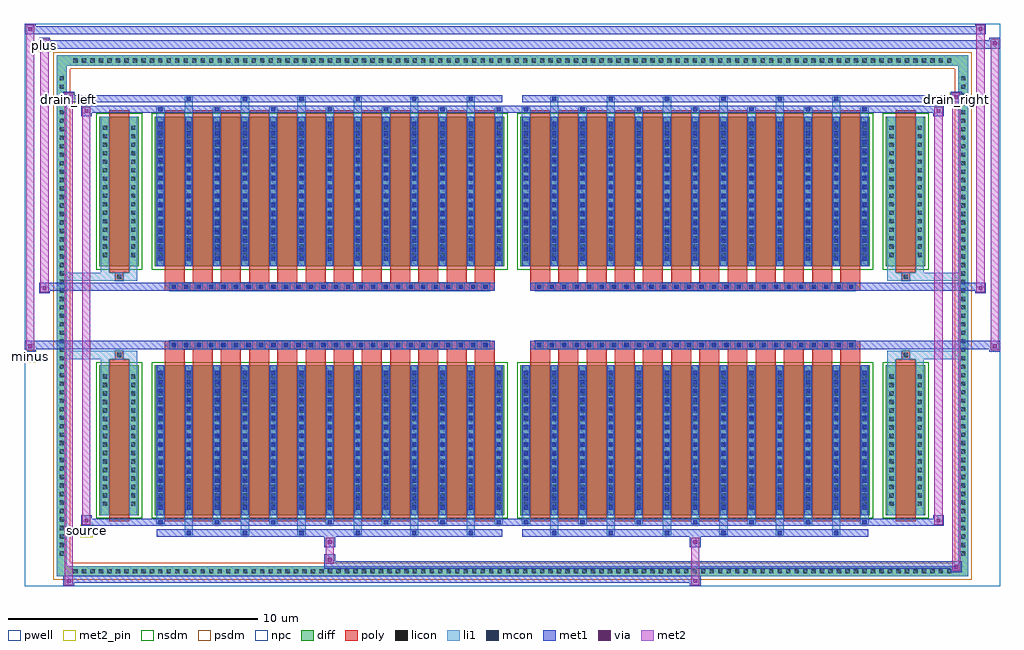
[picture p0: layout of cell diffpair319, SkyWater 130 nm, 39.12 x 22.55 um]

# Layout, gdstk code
import gdstk
lib = gdstk.Library(unit=1e-6, precision=5e-09)
def R(c, l, rs):  # rectangles x0, y0, x1, y1
    for r in rs: c.add(gdstk.rectangle(r[:2], r[2:], *l))
def A(c, l, x, y, w, h, nx, ny, dx, dy):  # array of equal rectangles
    R(c, l, [(x+i*dx, y+j*dy, x+i*dx+w, y+j*dy+h) for i in range(nx) for j in range(ny)])
def P(c, l, *ps):  # polygons
    for p in ps: c.add(gdstk.Polygon(p, *l))
pwell = (64, 44)
diff = (65, 20)
poly = (66, 20)
licon = (66, 44)
li1 = (67, 20)
mcon = (67, 44)
met1 = (68, 20)
via = (68, 44)
met2_pin = (69, 16)
met2 = (69, 20)
nsdm = (93, 44)
psdm = (94, 20)
npc = (95, 20)

diffpair319 = lib.new_cell('diffpair319')
R(diffpair319, pwell, [(-19.54,-10.84,19.54,11.71), (-16.86,-9.03,-0.01,-0.805), (0.01,-9.03,16.86,-0.805), (-16.86,0.805,-0.01,9.03), (0.01,0.805,16.86,9.03)])
A(diffpair319, diff, -17.715, -10.44, 0.41, 0.41, 104, 2, 0.34, 20.47)
A(diffpair319, diff, -18.27, -9.725, 0.41, 0.41, 1, 57, 0, 0.34)
A(diffpair319, diff, 17.86, -9.725, 0.41, 0.41, 1, 57, 0, 0.34)
R(diffpair319, diff, [(-17.715,-10.44,17.715,-10.03), (-18.27,-9.725,-17.86,9.725), (17.86,-9.725,18.27,9.725), (-16.55,-7.985,-14.97,-1.985), (-14.33,-7.985,-0.32,-1.985), (0.32,-7.985,14.33,-1.985), (14.97,-7.985,16.55,-1.985), (-16.55,1.985,-14.97,7.985), (-14.33,1.985,-0.32,7.985), (0.32,1.985,14.33,7.985), (14.97,1.985,16.55,7.985), (-17.715,10.03,17.715,10.44)])
P(diffpair319, diff, [(18.27,10.44),(-18.27,10.44),(-18.27,-10.03),(-17.86,-10.03),(-17.86,10.03),(17.86,10.03),(17.86,-10.03),(-17.86,-10.03),(-18.27,-10.03),(-18.27,-10.44),(18.27,-10.44)])
A(diffpair319, poly, -13.94, -8.235, 0.8, 6.5, 12, 2, 1.13, 9.97)
A(diffpair319, poly, 0.71, -8.235, 0.8, 6.5, 12, 2, 1.13, 9.97)
A(diffpair319, poly, -13.94, -1.735, 0.8, 0.4, 12, 2, 1.13, 3.07)
A(diffpair319, poly, 0.71, -1.735, 0.8, 0.4, 12, 2, 1.13, 3.07)
A(diffpair319, poly, -13.74, -1.335, 0.33, 0.33, 26, 2, 0.5, 2.34)
A(diffpair319, poly, 0.91, -1.335, 0.33, 0.33, 26, 2, 0.5, 2.34)
R(diffpair319, poly, [(-16.16,-8.235,-15.36,-1.735), (15.36,-8.235,16.16,-1.735), (-15.925,-1.735,-15.595,-1.405), (-15.925,-1.735,-15.595,-1.405), (15.595,-1.735,15.925,-1.405), (15.595,-1.735,15.925,-1.405), (-13.94,-1.335,-0.71,-1.005), (0.71,-1.335,13.94,-1.005), (-13.94,1.005,-0.71,1.335), (0.71,1.005,13.94,1.335), (-15.925,1.405,-15.595,1.735), (-15.925,1.405,-15.595,1.735), (15.595,1.405,15.925,1.735), (15.595,1.405,15.925,1.735), (-16.16,1.735,-15.36,8.235), (15.36,1.735,16.16,8.235)])
A(diffpair319, licon, -17.595, -10.32, 0.17, 0.17, 104, 2, 0.34, 20.47)
A(diffpair319, licon, -18.15, -9.605, 0.17, 0.17, 1, 57, 0, 0.34)
A(diffpair319, licon, 17.98, -9.605, 0.17, 0.17, 1, 57, 0, 0.34)
A(diffpair319, licon, -16.41, -7.62, 0.17, 0.17, 1, 16, 0, 0.34)
A(diffpair319, licon, -15.28, -7.62, 0.17, 0.17, 1, 16, 0, 0.34)
A(diffpair319, licon, -14.19, -7.62, 0.17, 0.17, 13, 16, 1.13, 0.34)
A(diffpair319, licon, 0.46, -7.62, 0.17, 0.17, 13, 16, 1.13, 0.34)
A(diffpair319, licon, 15.11, -7.62, 0.17, 0.17, 1, 16, 0, 0.34)
A(diffpair319, licon, 16.24, -7.62, 0.17, 0.17, 1, 16, 0, 0.34)
A(diffpair319, licon, -13.66, -1.255, 0.17, 0.17, 26, 2, 0.5, 2.34)
A(diffpair319, licon, 0.99, -1.255, 0.17, 0.17, 26, 2, 0.5, 2.34)
A(diffpair319, licon, -16.41, 2.35, 0.17, 0.17, 1, 16, 0, 0.34)
A(diffpair319, licon, -15.28, 2.35, 0.17, 0.17, 1, 16, 0, 0.34)
A(diffpair319, licon, -14.19, 2.35, 0.17, 0.17, 13, 16, 1.13, 0.34)
A(diffpair319, licon, 0.46, 2.35, 0.17, 0.17, 13, 16, 1.13, 0.34)
A(diffpair319, licon, 15.11, 2.35, 0.17, 0.17, 1, 16, 0, 0.34)
A(diffpair319, licon, 16.24, 2.35, 0.17, 0.17, 1, 16, 0, 0.34)
R(diffpair319, licon, [(-15.845,-1.655,-15.675,-1.485), (15.675,-1.655,15.845,-1.485), (-15.845,1.485,-15.675,1.655), (15.675,1.485,15.845,1.655)])
A(diffpair319, li1, -17.675, -10.4, 0.33, 0.33, 104, 2, 0.34, 20.47)
A(diffpair319, li1, -18.23, -9.685, 0.33, 0.33, 1, 57, 0, 0.34)
A(diffpair319, li1, 17.9, -9.685, 0.33, 0.33, 1, 57, 0, 0.34)
A(diffpair319, li1, -13.14, -8.79, 0.33, 0.805, 6, 2, 2.26, 16.775)
A(diffpair319, li1, -13.06, -8.79, 0.17, 0.17, 6, 2, 2.26, 17.41)
A(diffpair319, li1, 1.51, -8.79, 0.33, 0.805, 6, 2, 2.26, 16.775)
A(diffpair319, li1, 1.59, -8.79, 0.17, 0.17, 6, 2, 2.26, 17.41)
A(diffpair319, li1, -14.27, -8.36, 0.33, 0.375, 7, 2, 2.26, 16.345)
A(diffpair319, li1, -14.19, -8.36, 0.17, 0.17, 7, 2, 2.26, 16.55)
A(diffpair319, li1, 0.38, -8.36, 0.33, 0.375, 7, 2, 2.26, 16.345)
A(diffpair319, li1, 0.46, -8.36, 0.17, 0.17, 7, 2, 2.26, 16.55)
A(diffpair319, li1, -14.27, -7.985, 0.33, 6, 13, 2, 1.13, 9.97)
A(diffpair319, li1, 0.38, -7.985, 0.33, 6, 13, 2, 1.13, 9.97)
A(diffpair319, li1, -14.19, -7.77, 0.17, 0.17, 13, 16, 1.13, 0.36)
A(diffpair319, li1, -14.19, -7.77, 0.17, 5.57, 13, 2, 1.13, 9.97)
A(diffpair319, li1, 0.46, -7.77, 0.17, 0.17, 13, 16, 1.13, 0.36)
A(diffpair319, li1, 0.46, -7.77, 0.17, 5.57, 13, 2, 1.13, 9.97)
A(diffpair319, li1, -16.49, -7.7, 0.33, 0.33, 1, 16, 0, 0.34)
A(diffpair319, li1, -15.36, -7.7, 0.33, 0.33, 1, 16, 0, 0.34)
A(diffpair319, li1, -14.27, -7.7, 0.33, 0.33, 13, 16, 1.13, 0.34)
A(diffpair319, li1, 0.38, -7.7, 0.33, 0.33, 13, 16, 1.13, 0.34)
A(diffpair319, li1, 15.03, -7.7, 0.33, 0.33, 1, 16, 0, 0.34)
A(diffpair319, li1, 16.16, -7.7, 0.33, 0.33, 1, 16, 0, 0.34)
A(diffpair319, li1, -13.74, -1.335, 0.33, 0.33, 26, 2, 0.5, 2.34)
A(diffpair319, li1, 0.91, -1.335, 0.33, 0.33, 26, 2, 0.5, 2.34)
A(diffpair319, li1, -14.19, 2.2, 0.17, 0.17, 13, 16, 1.13, 0.36)
A(diffpair319, li1, 0.46, 2.2, 0.17, 0.17, 13, 16, 1.13, 0.36)
A(diffpair319, li1, -16.49, 2.27, 0.33, 0.33, 1, 16, 0, 0.34)
A(diffpair319, li1, -15.36, 2.27, 0.33, 0.33, 1, 16, 0, 0.34)
A(diffpair319, li1, -14.27, 2.27, 0.33, 0.33, 13, 16, 1.13, 0.34)
A(diffpair319, li1, 0.38, 2.27, 0.33, 0.33, 13, 16, 1.13, 0.34)
A(diffpair319, li1, 15.03, 2.27, 0.33, 0.33, 1, 16, 0, 0.34)
A(diffpair319, li1, 16.16, 2.27, 0.33, 0.33, 1, 16, 0, 0.34)
R(diffpair319, li1, [(-18.27,-10.44,-17.86,-10.03), (-18.27,-10.44,-17.86,-10.03), (-17.86,-10.44,17.86,-10.03), (17.86,-10.44,18.27,-10.03), (17.86,-10.44,18.27,-10.03), (-18.27,-10.03,-17.86,10.03), (17.86,-10.03,18.27,10.03), (-16.49,-7.985,-16.16,-1.985), (-15.36,-7.985,-15.03,-1.985), (15.03,-7.985,15.36,-1.985), (16.16,-7.985,16.49,-1.985), (-16.49,-1.985,-16.16,-1.405), (-15.36,-1.985,-15.03,-1.405), (15.03,-1.985,15.36,-1.405), (16.16,-1.985,16.49,-1.405), (-18.27,-1.735,-15.925,-1.405), (-16.49,-1.735,-15.925,-1.405), (-15.925,-1.735,-15.595,-1.405), (-15.595,-1.735,-15.03,-1.405), (15.03,-1.735,15.595,-1.405), (15.595,-1.735,15.925,-1.405), (15.595,-1.735,18.27,-1.405), (15.925,-1.735,16.49,-1.405), (-18.27,1.405,-15.925,1.735), (-16.49,1.405,-15.925,1.735), (-16.49,1.405,-16.16,1.985), (-15.925,1.405,-15.595,1.735), (-15.595,1.405,-15.03,1.735), (-15.36,1.405,-15.03,1.985), (15.03,1.405,15.595,1.735), (15.03,1.405,15.36,1.985), (15.595,1.405,15.925,1.735), (15.595,1.405,18.27,1.735), (15.925,1.405,16.49,1.735), (16.16,1.405,16.49,1.985), (-16.49,1.985,-16.16,7.985), (-15.36,1.985,-15.03,7.985), (15.03,1.985,15.36,7.985), (16.16,1.985,16.49,7.985), (-18.27,10.03,-17.86,10.44), (-18.27,10.03,-17.86,10.44), (-17.86,10.03,17.86,10.44), (17.86,10.03,18.27,10.44), (17.86,10.03,18.27,10.44)])
A(diffpair319, mcon, -13.06, -8.79, 0.17, 0.17, 6, 2, 2.26, 17.41)
A(diffpair319, mcon, 1.59, -8.79, 0.17, 0.17, 6, 2, 2.26, 17.41)
A(diffpair319, mcon, -14.19, -8.36, 0.17, 0.17, 7, 2, 2.26, 16.55)
A(diffpair319, mcon, 0.46, -8.36, 0.17, 0.17, 7, 2, 2.26, 16.55)
A(diffpair319, mcon, -14.19, -7.77, 0.17, 0.17, 13, 16, 1.13, 0.36)
A(diffpair319, mcon, 0.46, -7.77, 0.17, 0.17, 13, 16, 1.13, 0.36)
A(diffpair319, mcon, -13.66, -1.255, 0.17, 0.17, 26, 2, 0.5, 2.34)
A(diffpair319, mcon, 0.99, -1.255, 0.17, 0.17, 26, 2, 0.5, 2.34)
A(diffpair319, mcon, -14.19, 2.2, 0.17, 0.17, 13, 16, 1.13, 0.36)
A(diffpair319, mcon, 0.46, 2.2, 0.17, 0.17, 13, 16, 1.13, 0.36)
A(diffpair319, met1, -13.12, -8.85, 0.29, 0.29, 6, 2, 2.26, 17.41)
A(diffpair319, met1, 1.53, -8.85, 0.29, 0.29, 6, 2, 2.26, 17.41)
A(diffpair319, met1, -14.25, -8.42, 0.29, 0.29, 7, 2, 2.26, 16.55)
A(diffpair319, met1, 0.4, -8.42, 0.29, 0.29, 7, 2, 2.26, 16.55)
A(diffpair319, met1, -14.25, -7.985, 0.29, 6, 13, 2, 1.13, 9.97)
A(diffpair319, met1, 0.4, -7.985, 0.29, 6, 13, 2, 1.13, 9.97)
A(diffpair319, met1, -14.25, -7.83, 0.29, 0.29, 13, 16, 1.13, 0.36)
A(diffpair319, met1, 0.4, -7.83, 0.29, 0.29, 13, 16, 1.13, 0.36)
A(diffpair319, met1, -13.72, -1.315, 0.29, 0.29, 26, 2, 0.5, 2.34)
A(diffpair319, met1, 0.93, -1.315, 0.29, 0.29, 26, 2, 0.5, 2.34)
A(diffpair319, met1, -14.25, 2.14, 0.29, 0.29, 13, 16, 1.13, 0.36)
A(diffpair319, met1, 0.4, 2.14, 0.29, 0.29, 13, 16, 1.13, 0.36)
R(diffpair319, met1, [(-18,-10.84,-17.57,-10.41), (7.11,-10.84,7.54,-10.41), (-18,-10.7,7.54,-10.41), (17.57,-10.27,18,-9.84), (-7.54,-10.13,18,-9.84), (-7.54,-9.99,-7.11,-9.56), (-7.54,-9.28,-7.11,-8.85), (7.11,-9.28,7.54,-8.85), (-14.25,-8.85,-0.4,-8.56), (0.4,-8.85,14.25,-8.56), (-17.29,-8.42,-16.86,-7.99), (-17.29,-8.42,-14.25,-8.13), (-14.25,-8.42,-0.4,-8.13), (-0.4,-8.42,0.4,-8.13), (0.4,-8.42,14.25,-8.13), (14.25,-8.42,17.29,-8.13), (16.86,-8.42,17.29,-7.99), (-19.54,-1.435,-19.11,-1.005), (19.11,-1.435,19.54,-1.005), (-19.54,-1.335,-0.71,-1.005), (-13.94,-1.335,-0.71,-1.005), (0.71,-1.335,13.94,-1.005), (0.71,-1.335,19.54,-1.005), (-18.97,0.905,-18.54,1.335), (18.54,0.905,18.97,1.335), (-18.97,1.005,-13.94,1.335), (-13.94,1.005,-0.71,1.335), (0.71,1.005,13.94,1.335), (13.94,1.005,18.97,1.335), (-17.29,7.99,-16.86,8.42), (16.86,7.99,17.29,8.42), (-17.29,8.13,-14.25,8.42), (-14.25,8.13,-0.4,8.42), (-0.4,8.13,0.4,8.42), (0.4,8.13,14.25,8.42), (14.25,8.13,17.29,8.42), (-18,8.56,-17.57,8.99), (-18,8.56,-14.25,8.85), (-14.25,8.56,-0.4,8.85), (0.4,8.56,14.25,8.85), (14.25,8.56,18,8.85), (17.57,8.56,18,8.99), (-18.97,10.71,-18.54,11.14), (-18.97,10.71,-16.86,11.04), (-16.86,10.71,16.86,11.04), (16.86,10.71,19.54,11.04), (19.11,10.71,19.54,11.14), (-19.54,11.28,-19.11,11.71), (-19.54,11.28,-16.86,11.61), (-16.86,11.28,16.86,11.61), (16.86,11.28,18.97,11.61), (18.54,11.28,18.97,11.71)])
R(diffpair319, via, [(-17.86,-10.7,-17.71,-10.55), (7.25,-10.7,7.4,-10.55), (17.71,-10.13,17.86,-9.98), (-7.4,-9.85,-7.25,-9.7), (-7.4,-9.14,-7.25,-8.99), (7.25,-9.14,7.4,-8.99), (-17.15,-8.28,-17,-8.13), (17,-8.28,17.15,-8.13), (-19.4,-1.295,-19.25,-1.145), (19.25,-1.295,19.4,-1.145), (-18.83,1.045,-18.68,1.195), (18.68,1.045,18.83,1.195), (-17.15,8.13,-17,8.28), (17,8.13,17.15,8.28), (-17.86,8.7,-17.71,8.85), (17.71,8.7,17.86,8.85), (-18.83,10.85,-18.68,11), (19.25,10.85,19.4,11), (-19.4,11.42,-19.25,11.57), (18.68,11.42,18.83,11.57)])
R(diffpair319, met2_pin, [(-17.325,-8.87,-16.825,-8.37), (-19.575,-1.885,-19.075,-1.385), (-18.035,8.44,-17.535,8.94), (17.535,8.44,18.035,8.94), (-19.005,10.59,-18.505,11.09)])
R(diffpair319, met2, [(-17.95,-10.79,-17.62,-10.46), (-17.95,-10.79,-17.62,8.94), (7.16,-10.79,7.49,-10.46), (7.16,-10.46,7.49,-9.23), (17.62,-10.22,17.95,-9.89), (17.62,-10.22,17.95,8.94), (-7.49,-9.94,-7.16,-9.61), (-7.49,-9.61,-7.16,-9.23), (-7.49,-9.23,-7.16,-8.9), (7.16,-9.23,7.49,-8.9), (-17.24,-8.37,-16.91,-8.04), (-17.24,-8.37,-16.91,8.37), (16.91,-8.37,17.24,-8.04), (16.91,-8.37,17.24,8.37), (-19.49,-1.385,-19.16,-1.055), (-19.49,-1.385,-19.16,11.66), (19.16,-1.385,19.49,-1.055), (19.16,-1.385,19.49,11.09), (-18.92,0.955,-18.59,1.285), (-18.92,0.955,-18.59,11.09), (18.59,0.955,18.92,1.285), (18.59,0.955,18.92,11.66), (-17.24,8.04,-16.91,8.37), (16.91,8.04,17.24,8.37), (-17.95,8.61,-17.62,8.94), (17.62,8.61,17.95,8.94), (-18.92,10.76,-18.59,11.09), (19.16,10.76,19.49,11.09), (-19.49,11.33,-19.16,11.66), (18.59,11.33,18.92,11.66)])
P(diffpair319, met2, [(19.49,-1.385),(19.49,-1.385),(19.49,-1.055),(19.49,-1.055)],
  [(19.49,10.76),(19.49,10.76),(19.49,11.09),(19.49,11.09)],
  [(-19.16,-1.385),(-19.16,-1.385),(-19.16,-1.055),(-19.16,-1.055)],
  [(-19.16,11.33),(-19.16,11.33),(-19.16,11.66),(-19.16,11.66)],
  [(18.92,0.955),(18.92,0.955),(18.92,1.285),(18.92,1.285)],
  [(18.92,11.33),(18.92,11.33),(18.92,11.66),(18.92,11.66)],
  [(-18.59,0.955),(-18.59,0.955),(-18.59,1.285),(-18.59,1.285)],
  [(-18.59,10.76),(-18.59,10.76),(-18.59,11.09),(-18.59,11.09)],
  [(-17.62,-10.79),(-17.62,-10.79),(-17.62,-10.46),(-17.62,-10.46)],
  [(-17.62,8.61),(-17.62,8.61),(-17.62,8.94),(-17.62,8.94)],
  [(17.95,-10.22),(17.95,-10.22),(17.95,-9.89),(17.95,-9.89)],
  [(17.95,8.61),(17.95,8.61),(17.95,8.94),(17.95,8.94)],
  [(-16.91,-8.37),(-16.91,-8.37),(-16.91,-8.04),(-16.91,-8.04)],
  [(-16.91,8.04),(-16.91,8.04),(-16.91,8.37),(-16.91,8.37)],
  [(17.24,-8.37),(17.24,-8.37),(17.24,-8.04),(17.24,-8.04)],
  [(17.24,8.04),(17.24,8.04),(17.24,8.37),(17.24,8.37)])
R(diffpair319, nsdm, [(-16.68,-8.115,-14.84,-1.855), (-14.46,-8.115,-0.19,-1.855), (0.19,-8.115,14.46,-1.855), (14.84,-8.115,16.68,-1.855), (-16.68,1.855,-14.84,8.115), (-14.46,1.855,-0.19,8.115), (0.19,1.855,14.46,8.115), (14.84,1.855,16.68,8.115)])
P(diffpair319, psdm, [(18.4,10.57),(-18.4,10.57),(-18.4,-9.9),(-17.73,-9.9),(-17.73,9.9),(17.73,9.9),(17.73,-9.9),(-17.73,-9.9),(-18.4,-9.9),(-18.4,-10.57),(18.4,-10.57)])
A(diffpair319, npc, -13.76, -1.355, 0.37, 0.37, 26, 2, 0.5, 2.34)
A(diffpair319, npc, 0.89, -1.355, 0.37, 0.37, 26, 2, 0.5, 2.34)
R(diffpair319, npc, [(-15.945,-1.755,-15.575,-1.385), (15.575,-1.755,15.945,-1.385), (-13.76,-1.355,-12.89,-0.985), (-13.76,-1.355,-12.89,-0.985), (-13.26,-1.355,-12.39,-0.985), (-13.26,-1.355,-12.39,-0.985), (-12.76,-1.355,-11.89,-0.985), (-12.76,-1.355,-11.89,-0.985), (-12.26,-1.355,-11.39,-0.985), (-12.26,-1.355,-11.39,-0.985), (-11.76,-1.355,-10.89,-0.985), (-11.76,-1.355,-10.89,-0.985), (-11.26,-1.355,-10.39,-0.985), (-11.26,-1.355,-10.39,-0.985), (-10.76,-1.355,-9.89,-0.985), (-10.76,-1.355,-9.89,-0.985), (-10.26,-1.355,-9.39,-0.985), (-10.26,-1.355,-9.39,-0.985), (-9.76,-1.355,-8.89,-0.985), (-9.76,-1.355,-8.89,-0.985), (-9.26,-1.355,-8.39,-0.985), (-9.26,-1.355,-8.39,-0.985), (-8.76,-1.355,-7.89,-0.985), (-8.76,-1.355,-7.89,-0.985), (-8.26,-1.355,-7.39,-0.985), (-8.26,-1.355,-7.39,-0.985), (-7.76,-1.355,-6.89,-0.985), (-7.76,-1.355,-6.89,-0.985), (-7.26,-1.355,-6.39,-0.985), (-7.26,-1.355,-6.39,-0.985), (-6.76,-1.355,-5.89,-0.985), (-6.76,-1.355,-5.89,-0.985), (-6.26,-1.355,-5.39,-0.985), (-6.26,-1.355,-5.39,-0.985), (-5.76,-1.355,-4.89,-0.985), (-5.76,-1.355,-4.89,-0.985), (-5.26,-1.355,-4.39,-0.985), (-5.26,-1.355,-4.39,-0.985), (-4.76,-1.355,-3.89,-0.985), (-4.76,-1.355,-3.89,-0.985), (-4.26,-1.355,-3.39,-0.985), (-4.26,-1.355,-3.39,-0.985), (-3.76,-1.355,-2.89,-0.985), (-3.76,-1.355,-2.89,-0.985), (-3.26,-1.355,-2.39,-0.985), (-3.26,-1.355,-2.39,-0.985), (-2.76,-1.355,-1.89,-0.985), (-2.76,-1.355,-1.89,-0.985), (-2.26,-1.355,-1.39,-0.985), (-2.26,-1.355,-1.39,-0.985), (-1.76,-1.355,-0.89,-0.985), (-1.76,-1.355,-0.89,-0.985), (0.89,-1.355,1.76,-0.985), (0.89,-1.355,1.76,-0.985), (1.39,-1.355,2.26,-0.985), (1.39,-1.355,2.26,-0.985), (1.89,-1.355,2.76,-0.985), (1.89,-1.355,2.76,-0.985), (2.39,-1.355,3.26,-0.985), (2.39,-1.355,3.26,-0.985), (2.89,-1.355,3.76,-0.985), (2.89,-1.355,3.76,-0.985), (3.39,-1.355,4.26,-0.985), (3.39,-1.355,4.26,-0.985), (3.89,-1.355,4.76,-0.985), (3.89,-1.355,4.76,-0.985), (4.39,-1.355,5.26,-0.985), (4.39,-1.355,5.26,-0.985), (4.89,-1.355,5.76,-0.985), (4.89,-1.355,5.76,-0.985), (5.39,-1.355,6.26,-0.985), (5.39,-1.355,6.26,-0.985), (5.89,-1.355,6.76,-0.985), (5.89,-1.355,6.76,-0.985), (6.39,-1.355,7.26,-0.985), (6.39,-1.355,7.26,-0.985), (6.89,-1.355,7.76,-0.985), (6.89,-1.355,7.76,-0.985), (7.39,-1.355,8.26,-0.985), (7.39,-1.355,8.26,-0.985), (7.89,-1.355,8.76,-0.985), (7.89,-1.355,8.76,-0.985), (8.39,-1.355,9.26,-0.985), (8.39,-1.355,9.26,-0.985), (8.89,-1.355,9.76,-0.985), (8.89,-1.355,9.76,-0.985), (9.39,-1.355,10.26,-0.985), (9.39,-1.355,10.26,-0.985), (9.89,-1.355,10.76,-0.985), (9.89,-1.355,10.76,-0.985), (10.39,-1.355,11.26,-0.985), (10.39,-1.355,11.26,-0.985), (10.89,-1.355,11.76,-0.985), (10.89,-1.355,11.76,-0.985), (11.39,-1.355,12.26,-0.985), (11.39,-1.355,12.26,-0.985), (11.89,-1.355,12.76,-0.985), (11.89,-1.355,12.76,-0.985), (12.39,-1.355,13.26,-0.985), (12.39,-1.355,13.26,-0.985), (12.89,-1.355,13.76,-0.985), (12.89,-1.355,13.76,-0.985), (-13.76,0.985,-12.89,1.355), (-13.76,0.985,-12.89,1.355), (-13.26,0.985,-12.39,1.355), (-13.26,0.985,-12.39,1.355), (-12.76,0.985,-11.89,1.355), (-12.76,0.985,-11.89,1.355), (-12.26,0.985,-11.39,1.355), (-12.26,0.985,-11.39,1.355), (-11.76,0.985,-10.89,1.355), (-11.76,0.985,-10.89,1.355), (-11.26,0.985,-10.39,1.355), (-11.26,0.985,-10.39,1.355), (-10.76,0.985,-9.89,1.355), (-10.76,0.985,-9.89,1.355), (-10.26,0.985,-9.39,1.355), (-10.26,0.985,-9.39,1.355), (-9.76,0.985,-8.89,1.355), (-9.76,0.985,-8.89,1.355), (-9.26,0.985,-8.39,1.355), (-9.26,0.985,-8.39,1.355), (-8.76,0.985,-7.89,1.355), (-8.76,0.985,-7.89,1.355), (-8.26,0.985,-7.39,1.355), (-8.26,0.985,-7.39,1.355), (-7.76,0.985,-6.89,1.355), (-7.76,0.985,-6.89,1.355), (-7.26,0.985,-6.39,1.355), (-7.26,0.985,-6.39,1.355), (-6.76,0.985,-5.89,1.355), (-6.76,0.985,-5.89,1.355), (-6.26,0.985,-5.39,1.355), (-6.26,0.985,-5.39,1.355), (-5.76,0.985,-4.89,1.355), (-5.76,0.985,-4.89,1.355), (-5.26,0.985,-4.39,1.355), (-5.26,0.985,-4.39,1.355), (-4.76,0.985,-3.89,1.355), (-4.76,0.985,-3.89,1.355), (-4.26,0.985,-3.39,1.355), (-4.26,0.985,-3.39,1.355), (-3.76,0.985,-2.89,1.355), (-3.76,0.985,-2.89,1.355), (-3.26,0.985,-2.39,1.355), (-3.26,0.985,-2.39,1.355), (-2.76,0.985,-1.89,1.355), (-2.76,0.985,-1.89,1.355), (-2.26,0.985,-1.39,1.355), (-2.26,0.985,-1.39,1.355), (-1.76,0.985,-0.89,1.355), (-1.76,0.985,-0.89,1.355), (0.89,0.985,1.76,1.355), (0.89,0.985,1.76,1.355), (1.39,0.985,2.26,1.355), (1.39,0.985,2.26,1.355), (1.89,0.985,2.76,1.355), (1.89,0.985,2.76,1.355), (2.39,0.985,3.26,1.355), (2.39,0.985,3.26,1.355), (2.89,0.985,3.76,1.355), (2.89,0.985,3.76,1.355), (3.39,0.985,4.26,1.355), (3.39,0.985,4.26,1.355), (3.89,0.985,4.76,1.355), (3.89,0.985,4.76,1.355), (4.39,0.985,5.26,1.355), (4.39,0.985,5.26,1.355), (4.89,0.985,5.76,1.355), (4.89,0.985,5.76,1.355), (5.39,0.985,6.26,1.355), (5.39,0.985,6.26,1.355), (5.89,0.985,6.76,1.355), (5.89,0.985,6.76,1.355), (6.39,0.985,7.26,1.355), (6.39,0.985,7.26,1.355), (6.89,0.985,7.76,1.355), (6.89,0.985,7.76,1.355), (7.39,0.985,8.26,1.355), (7.39,0.985,8.26,1.355), (7.89,0.985,8.76,1.355), (7.89,0.985,8.76,1.355), (8.39,0.985,9.26,1.355), (8.39,0.985,9.26,1.355), (8.89,0.985,9.76,1.355), (8.89,0.985,9.76,1.355), (9.39,0.985,10.26,1.355), (9.39,0.985,10.26,1.355), (9.89,0.985,10.76,1.355), (9.89,0.985,10.76,1.355), (10.39,0.985,11.26,1.355), (10.39,0.985,11.26,1.355), (10.89,0.985,11.76,1.355), (10.89,0.985,11.76,1.355), (11.39,0.985,12.26,1.355), (11.39,0.985,12.26,1.355), (11.89,0.985,12.76,1.355), (11.89,0.985,12.76,1.355), (12.39,0.985,13.26,1.355), (12.39,0.985,13.26,1.355), (12.89,0.985,13.76,1.355), (12.89,0.985,13.76,1.355), (-15.945,1.385,-15.575,1.755), (15.575,1.385,15.945,1.755)])
diffpair319.add(gdstk.Label('minus', (-19.325,-1.635), layer=69, texttype=5))
diffpair319.add(gdstk.Label('drain_right', (17.785,8.69), layer=69, texttype=5))
diffpair319.add(gdstk.Label('drain_left', (-17.785,8.69), layer=69, texttype=5))
diffpair319.add(gdstk.Label('source', (-17.075,-8.62), layer=69, texttype=5))
diffpair319.add(gdstk.Label('plus', (-18.755,10.84), layer=69, texttype=5))

lib.write_gds('diffpair319.gds')
